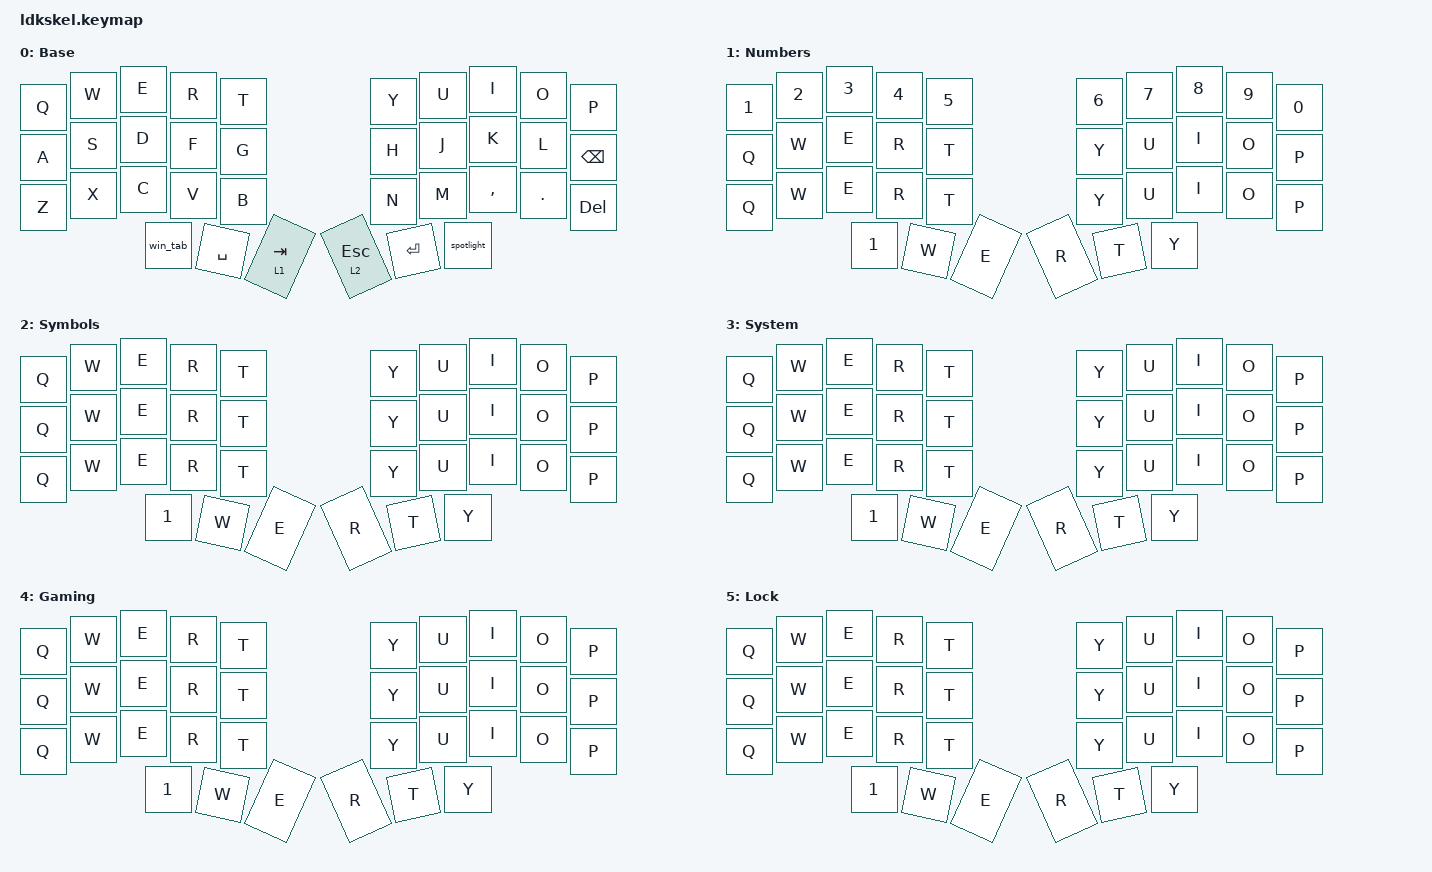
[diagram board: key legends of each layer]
#include <behaviors.dtsi>
#include <dt-bindings/zmk/keys.h>
#include <dt-bindings/zmk/bt.h>

#define BASE 0
#define NUMBERS 1
#define SYMBOLS 2
#define SYSTEM 3
#define GAMING 4
#define LOCK 5

// Behavior Overrides
&lt {
  tapping-term-ms = <200>;
  flavor = "hold-preferred";
};

/ {
  macros {
    // Spotlight
    spotlight: spotlight {
      compatible = "zmk,behavior-macro";
      #binding-cells = <0>;
      bindings = <&macro_press &kp LGUI>, <&macro_tap &kp SPACE>, <&macro_release &kp LGUI>; 
    };
    // Win + Tab
    win_tab: win_tab {
      compatible = "zmk,behavior-macro";
      #binding-cells = <0>;
      bindings = <&macro_press &kp LGUI>, <&macro_tap &kp TAB>, <&macro_release &kp LGUI>;
    };
  };


  
  keymap {
    compatible = "zmk,keymap";

    base_layer {
      display-name = "Base";
      bindings = <
        &kp Q     &kp W     &kp E     &kp R     &kp T     &kp Y     &kp U     &kp I     &kp O     &kp P
        &kp A     &kp S     &kp D     &kp F     &kp G     &kp H     &kp J     &kp K     &kp L     &kp BSPC
        &kp Z     &kp X     &kp C     &kp V     &kp B     &kp N     &kp M     &kp COMMA     &kp DOT     &kp DEL 
        &win_tab  &kp SPACE &lt 1 TAB  &lt 2 ESC   &kp ENTER &spotlight


      >;
    };

    number_layer {
      display-name = "Numbers";
      bindings = <
        &kp N1    &kp N2   &kp N3  &kp  N4    &kp N5     &kp N6    &kp N7     &kp N8     &kp N9     &kp N0
        &kp Q     &kp W     &kp E     &kp R     &kp T     &kp Y     &kp U     &kp I     &kp O     &kp P
        &kp Q     &kp W     &kp E     &kp R     &kp T     &kp Y     &kp U     &kp I     &kp O     &kp P
        &kp 1     &kp W     &kp E     &kp R     &kp T     &kp Y
      >;

    };

    symbols_layer {
      display-name = "Symbols";
      bindings = <
        &kp Q     &kp W     &kp E     &kp R     &kp T     &kp Y     &kp U     &kp I     &kp O     &kp P
        &kp Q     &kp W     &kp E     &kp R     &kp T     &kp Y     &kp U     &kp I     &kp O     &kp P
        &kp Q     &kp W     &kp E     &kp R     &kp T     &kp Y     &kp U     &kp I     &kp O     &kp P
        &kp 1     &kp W     &kp E     &kp R     &kp T     &kp Y
      >;

    };

    system_layer {
      display-name = "System";
      bindings = <
        &kp Q     &kp W     &kp E     &kp R     &kp T     &kp Y     &kp U     &kp I     &kp O     &kp P
        &kp Q     &kp W     &kp E     &kp R     &kp T     &kp Y     &kp U     &kp I     &kp O     &kp P
        &kp Q     &kp W     &kp E     &kp R     &kp T     &kp Y     &kp U     &kp I     &kp O     &kp P
        &kp 1     &kp W     &kp E     &kp R     &kp T     &kp Y
      >;
    };

    gaming_layer {
      display-name = "Gaming";
      bindings = <
        &kp Q     &kp W     &kp E     &kp R     &kp T     &kp Y     &kp U     &kp I     &kp O     &kp P
        &kp Q     &kp W     &kp E     &kp R     &kp T     &kp Y     &kp U     &kp I     &kp O     &kp P
        &kp Q     &kp W     &kp E     &kp R     &kp T     &kp Y     &kp U     &kp I     &kp O     &kp P
        &kp 1     &kp W     &kp E     &kp R     &kp T     &kp Y
      >;
    };

    lock_layer {
      display-name = "Lock";
      bindings = <
        &kp Q     &kp W     &kp E     &kp R     &kp T     &kp Y     &kp U     &kp I     &kp O     &kp P
        &kp Q     &kp W     &kp E     &kp R     &kp T     &kp Y     &kp U     &kp I     &kp O     &kp P
        &kp Q     &kp W     &kp E     &kp R     &kp T     &kp Y     &kp U     &kp I     &kp O     &kp P
        &kp 1     &kp W     &kp E     &kp R     &kp T     &kp Y
      >;
    };
  };
};
